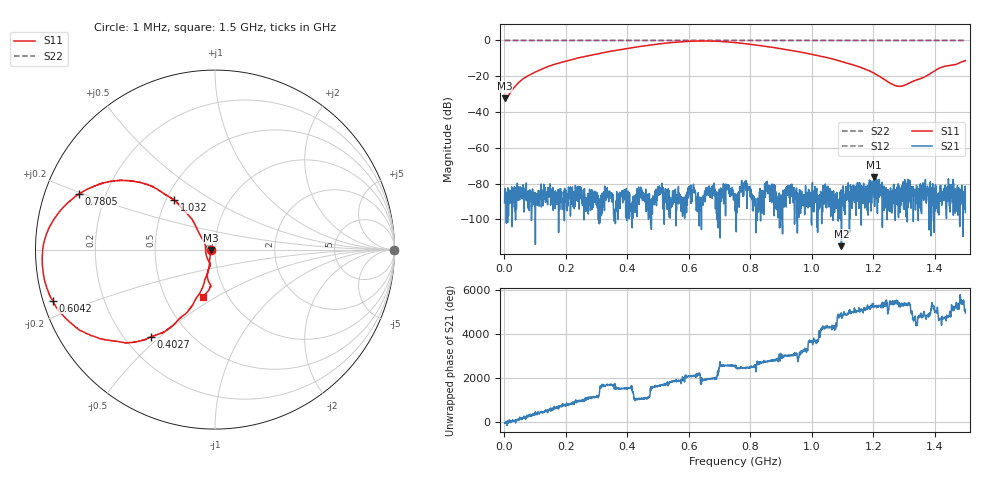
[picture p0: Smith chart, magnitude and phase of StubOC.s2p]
! Anritsu VNA Master:  Model: MS2025B
! SN:  1642059
! /bd0/PROE/TP1/P2/StubOC.s2p
! Existing Calibration Information:
! TYPE:  Current Settings,  Active Cal Settings
! TIME:  04/23/2024 09:40:38 AM,  03/12/2018 12:18:37 PM
! INTERNAL TEMP:  44.0 C,  41.3 C
! # POINTS:  2143,  4001
! START FREQ:  1.000 MHz,  1.000 MHz
! STOP FREQ:  1.499 864 500 GHz,  2.800 GHz
! SOURCE POWER:  Default,  Default
! IFBW:  1 kHz,  1 kHz
! AVG FACTOR:  1 ,  1
! REF PLANE 1:  0 mm,  0 mm
! REF PLANE 2:  0 mm,  0 mm
! CAL TYPE:  1P2P S11,S21,  1P2P S11,S21
! CAL METHOD:  SOLT,  SOLT
! CAL LINE TYPE:  Coax,  Coax
! DUT PORT 1:  ,
! DUT PORT 2:  N-Conn(M),  N-Conn(M)
! CAL STATUS:  OK: Accuracy High,  --
# GHZ S MA R 50.0
! FREQ.GHZ  S11M  S11A  S21M  S21A  S12M  S12A  S22M  S22A
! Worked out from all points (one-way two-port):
!   2143 points, 1 MHz to 1.5 GHz, reference 50 ohm
!   highest |S21| = -76.30 dB at 1.202 GHz (marker M1); lowest = -115.0 dB at 1.097 GHz (marker M2)
!   lowest |S11| = -32.4 dB at 1 MHz (marker M3), VSWR 1.05, Z = 47.7 - j0.13 ohm
!   |S11| at or under -10 dB: start of sweep to 234.8 MHz; 1.06 GHz to end of sweep
!   |S22| runs from 0.0 to 0.0 dB; largest |S21 - S12| = 1
!   S11 on the Smith chart (normalised r, x): 1 MHz: 0.95, -0.00; 402.7 MHz: 0.31, -0.47; 604.2 MHz: 0.03, -0.15; 780.5 MHz: 0.10, +0.19; 1.032 GHz: 0.55, +0.35; 1.5 GHz: 0.77, -0.44
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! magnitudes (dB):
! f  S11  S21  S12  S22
! 1 MHz  -32.4  -90.8  0.0  0.0
! 11.5 MHz  -31.2  -82.4  0.0  0.0
! 48.58 MHz  -23.2  -84.3  0.0  0.0
! 82.87 MHz  -19.2  -83.5  0.0  0.0
! 150 MHz  -14.1  -84.0  0.0  0.0
! 250.8 MHz  -9.4  -86.9  0.0  0.0
! 402.7 MHz  -4.4  -84.3  0.0  0.0
! 500.6 MHz  -2.0  -84.3  0.0  0.0
! 604.2 MHz  -0.5  -85.4  0.0  0.0
! 750.4 MHz  -1.2  -85.7  0.0  0.0
! 780.5 MHz  -1.7  -80.1  0.0  0.0
! 1 GHz  -7.8  -89.9  0.0  0.0
! 1.032 GHz  -9.0  -102.5  0.0  0.0
! 1.097 GHz  -11.8  -115.0  0.0  0.0
! 1.158 GHz  -15.0  -87.1  0.0  0.0
! 1.202 GHz  -18.3  -76.3  0.0  0.0
! 1.25 GHz  -23.4  -84.9  0.0  0.0
! 1.276 GHz  -25.4  -90.4  0.0  0.0
! 1.296 GHz  -25.4  -89.9  0.0  0.0
! 1.368 GHz  -20.3  -80.6  0.0  0.0
! 1.42 GHz  -15.1  -83.9  0.0  0.0
! 1.5 GHz  -11.3  -96.2  0.0  0.0
